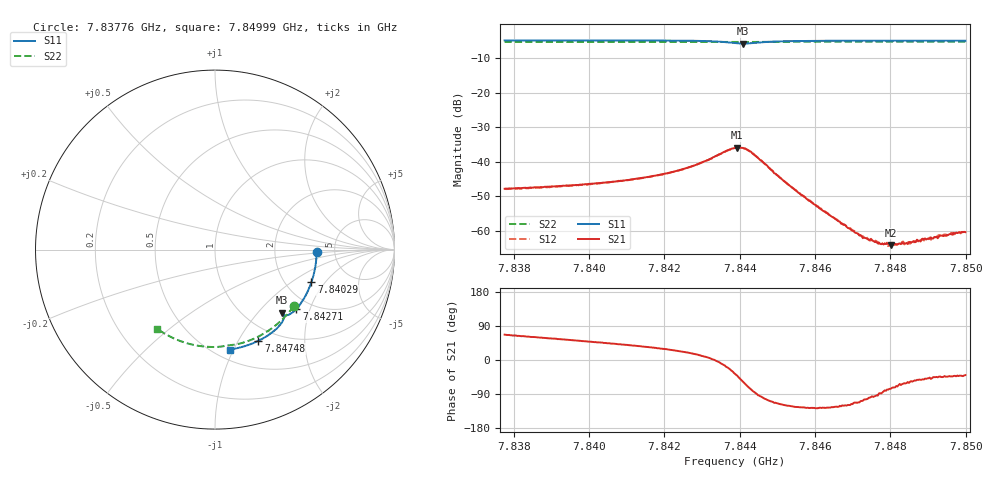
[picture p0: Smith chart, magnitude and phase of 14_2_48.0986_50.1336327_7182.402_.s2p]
#  HZ  S  RI  R  50.00
! Rohde & Schwarz Vector Network Analyzer
! Rohde-Schwarz,ZNB20-2Port,1311601062101988,3.16
! Created: UTC 12/23/2023, 3:36:00 AM
! freq[Hz]  re:S11  im:S11  re:S21  im:S21  re:S12  im:S12  re:S22  im:S22
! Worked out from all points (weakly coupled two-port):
!   401 points, 7.83776 GHz to 7.84999 GHz, reference 50 ohm
!   highest |S21| = -35.93 dB at 7.84393 GHz (marker M1); lowest = -64.2 dB at 7.848 GHz (marker M2)
!   lowest |S11| = -5.8 dB at 7.84409 GHz (marker M3), VSWR 3.10, Z = 71.1 - j67.8 ohm
!   |S11| at or under -10 dB: nowhere
!   |S22| runs from -5.4 to -5.3 dB; largest |S21 - S12| = 0.00037
!   S11 on the Smith chart (normalised r, x): 7.83776 GHz: 3.61, -0.17; 7.84029 GHz: 2.74, -1.47; 7.84271 GHz: 1.68, -1.62; 7.84748 GHz: 0.82, -1.22; 7.84999 GHz: 0.59, -0.96
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7.837756e9  0.5665 -0.0156  0.00158 0.00371  0.00162 0.00364  0.4383 -0.3153
7.839805e9  0.5468 -0.1507  0.00298 0.00355  0.00291 0.00353  0.3406 -0.4199
7.840295e9  0.537 -0.1823  0.00339 0.00352  0.00334 0.0035  0.3134 -0.4411
7.841855e9  0.4915 -0.2797  0.00548 0.0033  0.00544 0.00328  0.2185 -0.4955
7.842711e9  0.4539 -0.3302  0.00809 0.00257  0.00801 0.00258  0.1621 -0.5167
7.843445e9  0.4055 -0.3645  0.0126 -0.00115  0.0125 -0.00123  0.1118 -0.5288
7.843873e9  0.3737 -0.361  0.0126 -0.00938  0.0127 -0.00917  0.0832 -0.5325
7.843934e9  0.3716 -0.3579  0.0119 -0.0106  0.0118 -0.0105  0.0793 -0.533
7.844087e9  0.3715 -0.3519  0.00842 -0.0133  0.00848 -0.0132  0.0699 -0.5344
7.844363e9  0.3817 -0.3549  0.00149 -0.0127  0.00181 -0.0129  0.0522 -0.5376
7.845219e9  0.3676 -0.4134  -0.00245 -0.00433  -0.00247 -0.00437  -0.00749 -0.5431
7.845923e9  0.3319 -0.4506  -0.0015 -0.00203  -0.0015 -0.00205  -0.0573 -0.5407
7.846718e9  0.2869 -0.4833  -0.000633 -0.0011  -0.000659 -0.00106  -0.1126 -0.5326
7.847207e9  0.2579 -0.5001  -0.000273 -0.000815  -0.000295 -0.000801  -0.1461 -0.5247
7.847483e9  0.2413 -0.5085  -0.000104 -0.000753  -0.000133 -0.000718  -0.1646 -0.5193
7.847727e9  0.2263 -0.5156  2.8e-05 -0.000643  1.45e-05 -0.000636  -0.1809 -0.5141
7.847972e9  0.211 -0.5219  0.000156 -0.000632  0.000118 -0.00064  -0.197 -0.5082
7.848003e9  0.2091 -0.5228  0.00015 -0.000602  0.000108 -0.000585  -0.1991 -0.5076
7.8484e9  0.1841 -0.5321  0.000308 -0.000573  0.000329 -0.000587  -0.225 -0.4967
7.849012e9  0.1449 -0.5441  0.000513 -0.000571  0.000509 -0.000553  -0.2635 -0.4778
7.849593e9  0.107 -0.5526  0.000647 -0.00061  0.000687 -0.00061  -0.2986 -0.4572
7.849991e9  0.081 -0.5568  0.000729 -0.000609  0.000705 -0.000645  -0.3216 -0.4415
